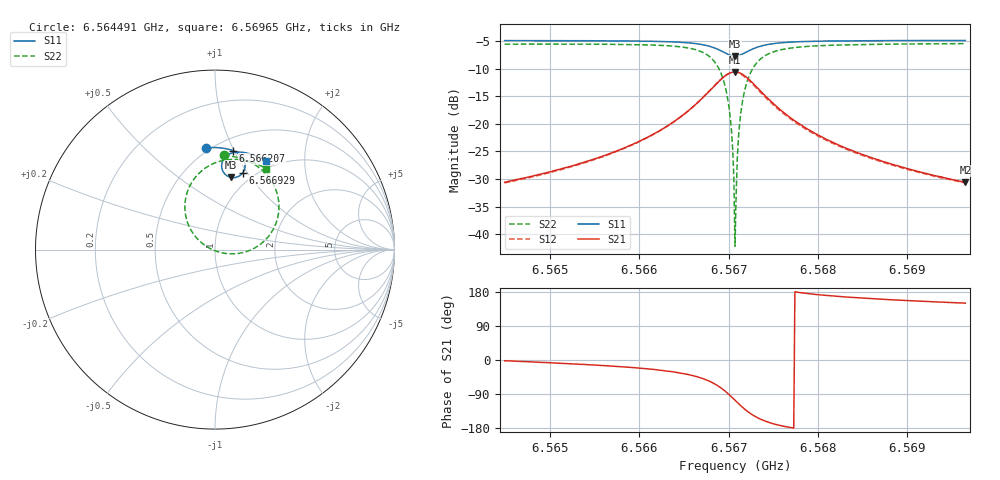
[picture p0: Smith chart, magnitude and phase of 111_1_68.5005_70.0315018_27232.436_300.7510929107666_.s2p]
#  HZ  S  RI  R  50.00
! Rohde & Schwarz Vector Network Analyzer
! Rohde-Schwarz,ZNB20-2Port,1311601062101988,3.16
! Created: UTC 3/20/2024, 4:53:33 PM
! freq[Hz]  re:S11  im:S11  re:S21  im:S21  re:S12  im:S12  re:S22  im:S22
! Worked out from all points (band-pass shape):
!   401 points, 6.564491 GHz to 6.56965 GHz, reference 50 ohm
!   highest |S21| = -10.57 dB at 6.567071 GHz (marker M1); lowest = -30.6 dB at 6.56965 GHz (marker M2)
!   |S21| within 3 dB of the highest: 6.566812 GHz to 6.567328 GHz (515.6 kHz wide, 0.00785 % of centre)
!   lowest |S11| = -7.7 dB at 6.567071 GHz (marker M3), VSWR 2.40, Z = 41.7 + j40.5 ohm
!   |S11| at or under -10 dB: nowhere
!   |S22| runs from -42.2 to -5.4 dB; largest |S21 - S12| = 0.015
!   S11 on the Smith chart (normalised r, x): 6.564491 GHz: 0.47, +0.79; 6.566207 GHz: 0.62, +0.99; 6.566929 GHz: 0.88, +0.95; 6.56965 GHz: 0.89, +1.31
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6.5644914e9  -0.0516 0.5669  0.0296 -0.00108  0.0291 -0.00153  0.0505 0.5261
6.5653554e9  0.02 0.5676  0.0433 -0.00871  0.0426 -0.00936  0.135 0.5108
6.5662065e9  0.1017 0.5506  0.0764 -0.0373  0.0752 -0.0383  0.2536 0.4506
6.5662194e9  0.1031 0.5501  0.0769 -0.0384  0.0759 -0.0394  0.256 0.4487
6.5667224e9  0.163 0.494  0.1135 -0.1354  0.1108 -0.1384  0.3555 0.2594
6.5668384e9  0.1673 0.4596  0.1021 -0.1957  0.0968 -0.1994  0.3392 0.1447
6.5669287e9  0.1539 0.4266  0.0614 -0.2524  0.0524 -0.2556  0.2641 0.0388
6.5670061e9  0.1229 0.4044  -0.00837 -0.2874  -0.0211 -0.2865  0.1349 -0.0207
6.5670319e9  0.1094 0.4012  -0.0375 -0.2905  -0.0507 -0.2875  0.0819 -0.0236
6.5670448e9  0.102 0.4009  -0.0525 -0.2898  -0.0658 -0.2857  0.055 -0.021
6.5670577e9  0.0948 0.4013  -0.0676 -0.288  -0.0808 -0.2825  0.0284 -0.0156
6.5670706e9  0.0876 0.4026  -0.0825 -0.2844  -0.0952 -0.2778  0.0023 -0.00742
6.5670963e9  0.0739 0.4073  -0.1107 -0.273  -0.1223 -0.2643  -0.0459 0.0165
6.5671092e9  0.0676 0.4108  -0.1236 -0.2655  -0.1346 -0.2557  -0.0676 0.032
6.5671221e9  0.0619 0.415  -0.1356 -0.2566  -0.1457 -0.2461  -0.0873 0.049
6.5671479e9  0.052 0.4246  -0.1561 -0.2366  -0.1642 -0.2248  -0.1199 0.0871
6.5671995e9  0.0401 0.4472  -0.1828 -0.1914  -0.1867 -0.1791  -0.1587 0.1698
6.567264e9  0.0376 0.4747  -0.1927 -0.1377  -0.1926 -0.1266  -0.1665 0.2648
6.567509e9  0.0759 0.5302  -0.1474 -0.0288  -0.144 -0.0243  -0.0626 0.4481
6.5679346e9  0.139 0.5433  -0.0842 0.0088  -0.0823 0.0101  0.078 0.5016
6.5687986e9  0.2215 0.5245  -0.041 0.0155  -0.04 0.0157  0.2093 0.4852
6.5696497e9  0.2856 0.4946  -0.0255 0.0148  -0.0249 0.0148  0.2868 0.4507
